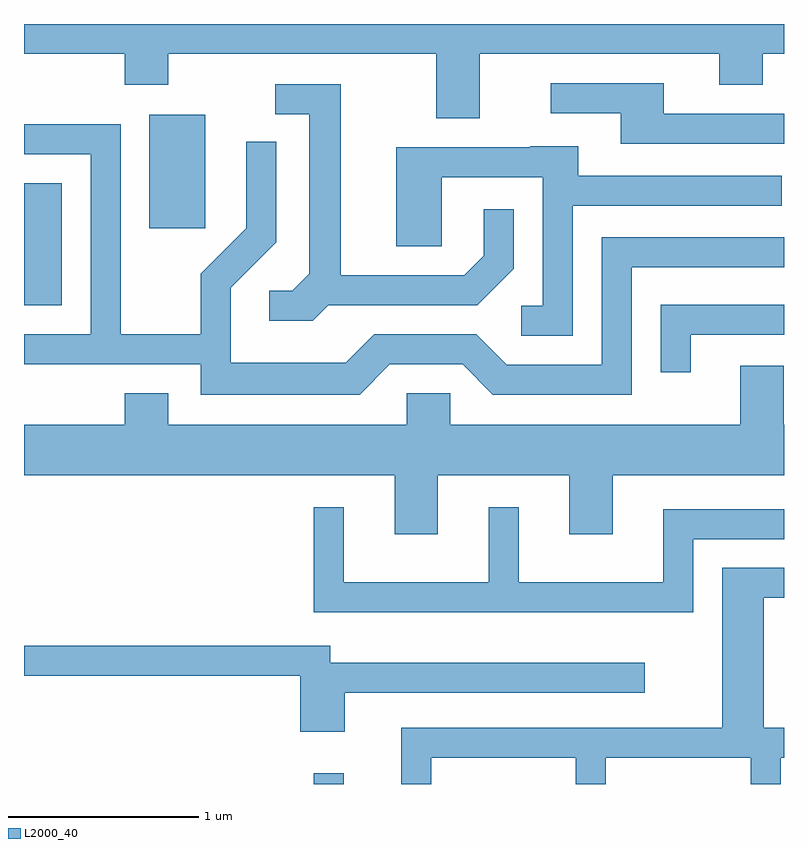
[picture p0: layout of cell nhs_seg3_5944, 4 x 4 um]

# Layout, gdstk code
import gdstk
lib = gdstk.Library(unit=1e-6, precision=1e-09)
def R(c, l, rs):  # rectangles x0, y0, x1, y1
    for r in rs: c.add(gdstk.rectangle(r[:2], r[2:], *l))
def P(c, l, *ps):  # polygons
    for p in ps: c.add(gdstk.Polygon(p, *l))
L2000_40 = (2000, 40)

nhs_seg3_5944 = lib.new_cell('nhs_seg3_5944')
R(nhs_seg3_5944, L2000_40, [(361.136,1179.892,361.294,1179.948), (359.611,1182.411,359.809,1183.054), (360.271,1182.816,360.564,1183.414)])
P(nhs_seg3_5944, L2000_40, [(362.009,1183.736),(363.271,1183.736),(363.271,1183.571),(363.499,1183.571),(363.499,1183.736),(363.611,1183.736),(363.611,1183.892),(359.611,1183.892),(359.611,1183.736),(360.141,1183.736),(360.141,1183.571),(360.369,1183.571),(360.369,1183.736),(361.781,1183.736),(361.781,1183.396),(362.009,1183.396)],
  [(363.611,1183.419),(362.979,1183.419),(362.979,1183.579),(362.383,1183.579),(362.383,1183.421),(362.751,1183.421),(362.751,1183.261),(363.611,1183.261)],
  [(361.212,1182.411),(361.997,1182.411),(362.189,1182.604),(362.189,1182.918),(362.031,1182.918),(362.031,1182.672),(361.929,1182.569),(361.279,1182.569),(361.279,1183.574),(360.933,1183.574),(360.933,1183.416),(361.111,1183.416),(361.111,1182.577),(361.024,1182.489),(360.903,1182.489),(360.903,1182.331),(361.132,1182.331)],
  [(361.537,1182.101),(361.919,1182.101),(362.079,1181.941),(362.809,1181.941),(362.809,1182.611),(363.611,1182.611),(363.611,1182.769),(362.651,1182.769),(362.651,1182.099),(362.152,1182.099),(361.992,1182.259),(361.454,1182.259),(361.304,1182.109),(360.699,1182.109),(360.699,1182.504),(360.939,1182.744),(360.939,1183.273),(360.781,1183.273),(360.781,1182.817),(360.541,1182.577),(360.541,1182.259),(360.119,1182.259),(360.119,1183.364),(359.613,1183.364),(359.613,1183.206),(359.961,1183.206),(359.961,1182.259),(359.613,1182.259),(359.613,1182.101),(360.541,1182.101),(360.541,1181.941),(361.377,1181.941)],
  [(362.499,1182.936),(363.598,1182.936),(363.598,1183.094),(362.529,1183.094),(362.529,1183.249),(362.275,1183.249),(362.275,1183.244),(361.571,1183.244),(361.571,1182.721),(361.809,1182.721),(361.809,1183.086),(362.341,1183.086),(362.341,1182.409),(362.228,1182.409),(362.228,1182.251),(362.499,1182.251)],
  [(363.119,1182.256),(363.611,1182.256),(363.611,1182.414),(362.961,1182.414),(362.961,1182.058),(363.119,1182.058)],
  [(361.789,1181.516),(362.481,1181.516),(362.481,1181.206),(362.709,1181.206),(362.709,1181.516),(363.611,1181.516),(363.611,1181.784),(363.609,1181.784),(363.609,1182.094),(363.381,1182.094),(363.381,1181.784),(361.854,1181.784),(361.854,1181.949),(361.626,1181.949),(361.626,1181.784),(360.369,1181.784),(360.369,1181.949),(360.141,1181.949),(360.141,1181.784),(359.611,1181.784),(359.611,1181.516),(361.561,1181.516),(361.561,1181.206),(361.789,1181.206)],
  [(363.134,1181.181),(363.611,1181.181),(363.611,1181.339),(362.976,1181.339),(362.976,1180.954),(362.214,1180.954),(362.214,1181.348),(362.056,1181.348),(362.056,1180.954),(361.294,1180.954),(361.294,1181.348),(361.136,1181.348),(361.136,1180.796),(363.134,1180.796)],
  [(361.754,1180.031),(362.516,1180.031),(362.516,1179.892),(362.674,1179.892),(362.674,1180.031),(363.436,1180.031),(363.436,1179.892),(363.594,1179.892),(363.594,1180.031),(363.611,1180.031),(363.611,1180.189),(363.504,1180.189),(363.504,1180.871),(363.611,1180.871),(363.611,1181.029),(363.286,1181.029),(363.286,1180.189),(361.596,1180.189),(361.596,1179.892),(361.754,1179.892)],
  [(361.299,1180.371),(362.878,1180.371),(362.878,1180.529),(361.224,1180.529),(361.224,1180.619),(359.611,1180.619),(359.611,1180.461),(361.066,1180.461),(361.066,1180.166),(361.299,1180.166)])

lib.write_gds('nhs_seg3_5944.gds')
